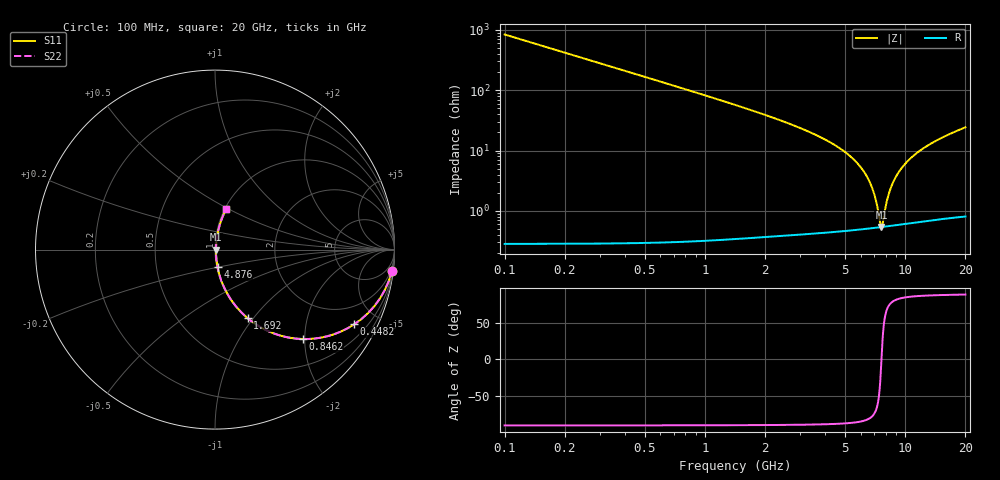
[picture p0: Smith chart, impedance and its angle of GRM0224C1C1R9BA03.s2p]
!Murata Part Number: GRM0224C1C1R9BA03
!These Parameters are Measured in Series Mode Connection
!Data Generated on Mar 30, 2021
!  o--ll--o
!Port1  Port2
!  o------o
!Operation Temp=25[degC], DC Bias Voltage=0[V]
!Freq. Start=100[MHz] Stop=20[GHz] 401[Steps]
# Hz S RI R 50
!Freq.(Hz) S11(Real) S11(Imag) S21(Real) S21(Imag) S12(Real) S12(Imag) S22(Real) S22(Imag)
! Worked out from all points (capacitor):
!   401 points, 100 MHz to 20 GHz, reference 50 ohm
!   read as one part in series: C = 1.9 pF near 199.5 MHz
!   lowest |Z| = 540 mohm at 7.612 GHz (marker M1)
!   series resonance near 7.621 GHz, so ESL is about 230 pH
!   S11 on the Smith chart (normalised r, x): 100 MHz: 1, -17; 448.2 MHz: 1.01, -3.72; 846.2 MHz: 1.01, -1.95; 1.692 GHz: 1.01, -0.94; 4.876 GHz: 1.01, -0.20; 20 GHz: 1.02, +0.48
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1e8  0.9859 -0.1177  0.0141 0.1177  0.0141 0.1177  0.9859 -0.1177
2.99e8  0.8864 -0.3168  0.1136 0.3168  0.1136 0.3168  0.8864 -0.3168
4.4825e8  0.7758 -0.4163  0.2242 0.4163  0.2242 0.4163  0.7758 -0.4163
8.4625e8  0.4885 -0.4983  0.5115 0.4983  0.5115 0.4983  0.4885 -0.4983
1.24425e9  0.3009 -0.4561  0.6991 0.4561  0.6991 0.4561  0.3009 -0.4561
1.692e9  0.1827 -0.3827  0.8173 0.3827  0.8173 0.3827  0.1827 -0.3827
3.43325e9  0.0399 -0.1853  0.9601 0.1853  0.9601 0.1853  0.0399 -0.1853
4.876e9  0.0145 -0.0991  0.9855 0.0991  0.9855 0.0991  0.0145 -0.0991
6.02025e9  0.00756 -0.0514  0.9924 0.0514  0.9924 0.0514  0.00756 -0.0514
6.7665e9  0.00579 -0.0257  0.9942 0.0257  0.9942 0.0257  0.00579 -0.0257
7.11475e9  0.00545 -0.0148  0.9946 0.0148  0.9946 0.0148  0.00545 -0.0148
7.51275e9  0.00535 -0.00308  0.9947 0.00308  0.9947 0.00308  0.00535 -0.00308
7.61225e9  0.00537 -0.00024  0.9946 0.00024  0.9946 0.00024  0.00537 -0.00024
7.71175e9  0.0054 0.00256  0.9946 -0.00256  0.9946 -0.00256  0.0054 0.00256
8.1595e9  0.00574 0.0147  0.9943 -0.0147  0.9943 -0.0147  0.00574 0.0147
8.5575e9  0.00627 0.025  0.9937 -0.025  0.9937 -0.025  0.00627 0.025
9.20425e9  0.0075 0.0408  0.9925 -0.0408  0.9925 -0.0408  0.0075 0.0408
1.005e10  0.00969 0.06  0.9903 -0.06  0.9903 -0.06  0.00969 0.06
1.149275e10  0.0146 0.0899  0.9854 -0.0899  0.9854 -0.0899  0.0146 0.0899
1.338325e10  0.0228 0.1249  0.9772 -0.1249  0.9772 -0.1249  0.0228 0.1249
1.67165e10  0.0409 0.1789  0.9591 -0.1789  0.9591 -0.1789  0.0409 0.1789
2e10  0.0621 0.2253  0.9379 -0.2253  0.9379 -0.2253  0.0621 0.2253
